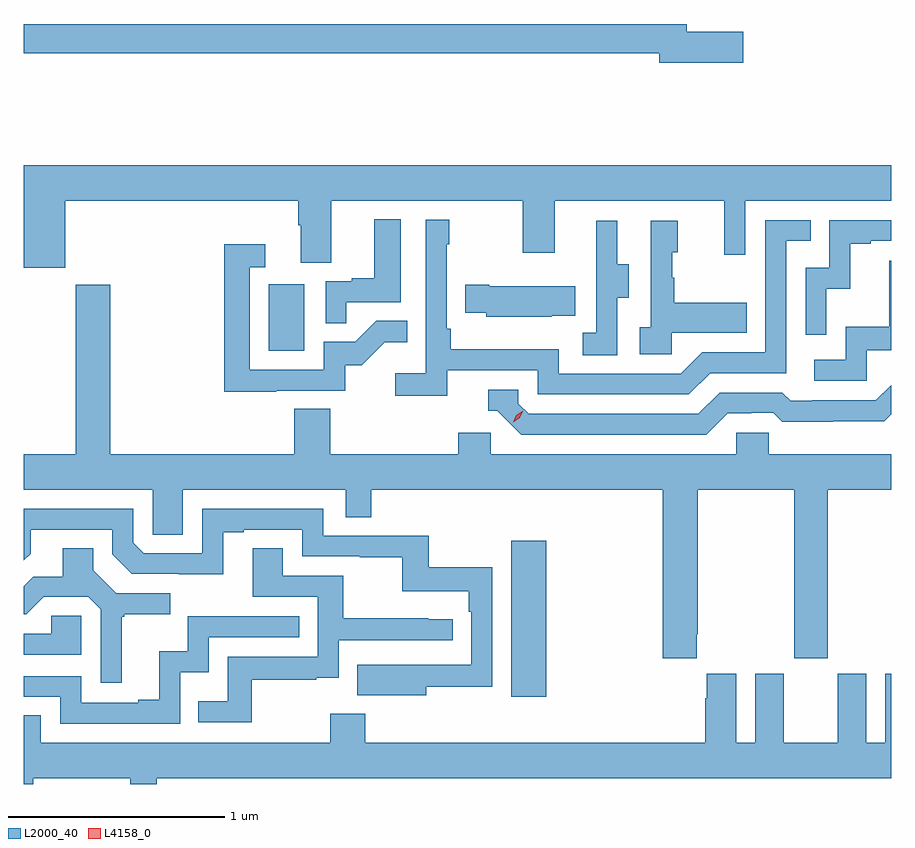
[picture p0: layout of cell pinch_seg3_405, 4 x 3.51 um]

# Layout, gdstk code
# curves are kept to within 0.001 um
import gdstk
lib = gdstk.Library(unit=1e-6, precision=1e-09)
def R(c, l, rs):  # rectangles x0, y0, x1, y1
    for r in rs: c.add(gdstk.rectangle(r[:2], r[2:], *l))
def P(c, l, *ps):  # polygons
    for p in ps: c.add(gdstk.Polygon(p, *l))
L2000_40 = (2000, 40)
L4158_0 = (4158, 0)

pinch_seg3_405 = lib.new_cell('pinch_seg3_405')
R(pinch_seg3_405, L2000_40, [(939.221,697.296,939.382,698.017), (938.102,698.892,938.266,699.199)])
P(pinch_seg3_405, L2000_40, [(940.291,700.364),(940.03,700.364),(940.03,700.4),(936.972,700.4),(936.972,700.264),(939.902,700.264),(939.902,700.222),(940.291,700.222)],
  [(937.162,699.584),(938.237,699.584),(938.237,699.472),(938.249,699.472),(938.249,699.298),(938.389,699.298),(938.389,699.584),(939.274,699.584),(939.274,699.345),(939.421,699.345),(939.421,699.584),(940.202,699.584),(940.202,699.336),(940.299,699.336),(940.299,699.584),(940.972,699.584),(940.972,699.748),(936.972,699.748),(936.972,699.275),(937.162,699.275)],
  [(938.459,699.117),(938.71,699.117),(938.71,699.499),(938.588,699.499),(938.588,699.226),(938.485,699.226),(938.485,699.213),(938.364,699.213),(938.364,699.019),(938.459,699.019)],
  [(938.924,698.802),(939.342,698.802),(939.342,698.691),(940.039,698.691),(940.138,698.79),(940.488,698.79),(940.488,699.399),(940.601,699.399),(940.601,699.495),(940.392,699.495),(940.392,698.886),(940.101,698.886),(940.002,698.787),(939.438,698.787),(939.438,698.899),(938.942,698.899),(938.942,698.995),(938.922,698.995),(938.922,699.383),(938.935,699.383),(938.935,699.496),(938.826,699.496),(938.826,698.788),(938.685,698.788),(938.685,698.686),(938.924,698.686)],
  [(940.674,699.179),(940.784,699.179),(940.784,699.387),(940.879,699.387),(940.879,699.399),(940.972,699.399),(940.972,699.495),(940.686,699.495),(940.686,699.276),(940.578,699.276),(940.578,698.967),(940.674,698.967)],
  [(939.96,698.975),(940.307,698.975),(940.307,699.115),(939.973,699.115),(939.973,699.23),(939.963,699.23),(939.963,699.348),(939.988,699.348),(939.988,699.493),(939.864,699.493),(939.864,699.002),(939.813,699.002),(939.813,698.877),(939.96,698.877)],
  [(939.708,699.136),(939.763,699.136),(939.763,699.291),(939.709,699.291),(939.709,699.493),(939.611,699.493),(939.611,699.279),(939.612,699.279),(939.612,698.975),(939.549,698.975),(939.549,698.872),(939.708,698.872)],
  [(938.135,698.709),(938.454,698.709),(938.454,698.826),(938.53,698.826),(938.637,698.933),(938.741,698.933),(938.741,699.032),(938.598,699.032),(938.5,698.934),(938.355,698.934),(938.355,698.805),(938.013,698.805),(938.013,699.279),(938.086,699.279),(938.086,699.385),(937.897,699.385),(937.897,698.704),(938.135,698.704)],
  [(940.86,698.895),(940.972,698.895),(940.972,699.307),(940.963,699.307),(940.963,699.004),(940.764,699.004),(940.764,698.85),(940.617,698.85),(940.617,698.754),(940.86,698.754)],
  [(939.407,699.053),(939.515,699.053),(939.515,699.19),(939.118,699.19),(939.118,699.198),(939.007,699.198),(939.007,699.068),(939.105,699.068),(939.105,699.05),(939.407,699.05)],
  [(940.075,697.585),(940.08,697.585),(940.08,698.252),(940.525,698.252),(940.525,697.473),(940.68,697.473),(940.68,698.252),(940.972,698.252),(940.972,698.416),(940.407,698.416),(940.407,698.514),(940.257,698.514),(940.257,698.416),(939.126,698.416),(939.126,698.514),(938.975,698.514),(938.975,698.416),(938.384,698.416),(938.384,698.624),(938.219,698.624),(938.219,698.416),(937.37,698.416),(937.37,699.196),(937.21,699.196),(937.21,698.416),(936.972,698.416),(936.972,698.252),(937.566,698.252),(937.566,698.044),(937.705,698.044),(937.705,698.252),(938.457,698.252),(938.457,698.125),(938.573,698.125),(938.573,698.252),(939.92,698.252),(939.92,697.473),(940.075,697.473)],
  [(940.219,698.604),(940.326,698.604),(940.326,698.607),(940.429,698.607),(940.471,698.565),(940.704,698.565),(940.704,698.567),(940.94,698.567),(940.972,698.599),(940.972,698.734),(940.902,698.664),(940.609,698.664),(940.609,698.661),(940.51,698.661),(940.471,698.7),(940.182,698.7),(940.083,698.601),(939.3,698.601),(939.252,698.649),(939.252,698.712),(939.113,698.712),(939.113,698.616),(939.156,698.616),(939.267,698.505),(940.12,698.505)],
  [(938.827,697.342),(939.132,697.342),(939.132,697.894),(938.839,697.894),(938.839,698.04),(938.352,698.04),(938.352,698.163),(937.794,698.163),(937.794,697.959),(937.524,697.959),(937.476,698.007),(937.476,698.163),(936.972,698.163),(936.972,697.926),(937.003,697.957),(937.003,698.067),(937.38,698.067),(937.38,697.953),(937.47,697.863),(937.891,697.862),(937.891,698.055),(937.987,698.055),(937.987,698.067),(938.256,698.067),(938.256,697.944),(938.521,697.944),(938.521,697.939),(938.718,697.939),(938.718,697.784),(939.023,697.784),(939.023,697.688),(939.036,697.688),(939.036,697.443),(938.509,697.444),(938.509,697.304),(938.827,697.304)],
  [(937.423,697.665),(937.435,697.665),(937.435,697.676),(937.648,697.676),(937.648,697.773),(937.398,697.773),(937.291,697.88),(937.291,697.982),(937.151,697.982),(937.151,697.85),(937.016,697.85),(936.972,697.806),(936.972,697.677),(936.982,697.677),(937.063,697.758),(937.269,697.758),(937.326,697.701),(937.326,697.362),(937.423,697.362)],
  [(938.023,697.374),(938.321,697.374),(938.321,697.385),(938.424,697.385),(938.424,697.557),(938.95,697.557),(938.95,697.653),(938.837,697.653),(938.837,697.658),(938.444,697.658),(938.444,697.854),(938.167,697.854),(938.167,697.982),(938.027,697.982),(938.027,697.758),(938.328,697.758),(938.328,697.482),(937.912,697.482),(937.912,697.276),(937.777,697.276),(937.777,697.179),(938.023,697.179)],
  [(937.236,697.671),(937.099,697.671),(937.099,697.587),(936.972,697.587),(936.972,697.491),(937.236,697.491)],
  [(937.692,697.409),(937.824,697.409),(937.824,697.572),(938.243,697.572),(938.243,697.668),(937.728,697.668),(937.728,697.507),(937.595,697.507),(937.595,697.282),(937.499,697.282),(937.499,697.269),(937.236,697.269),(937.236,697.392),(936.972,697.392),(936.972,697.296),(937.14,697.296),(937.14,697.173),(937.692,697.173)],
  [(937.014,696.92),(937.463,696.92),(937.463,696.894),(937.585,696.894),(937.585,696.92),(940.972,696.92),(940.972,697.402),(940.946,697.402),(940.946,697.084),(940.858,697.084),(940.858,697.402),(940.727,697.402),(940.727,697.084),(940.477,697.084),(940.477,697.402),(940.346,697.402),(940.346,697.084),(940.258,697.084),(940.258,697.402),(940.121,697.402),(940.121,697.289),(940.115,697.289),(940.115,697.084),(938.546,697.084),(938.546,697.219),(938.386,697.219),(938.386,697.084),(937.05,697.084),(937.05,697.211),(936.972,697.211),(936.972,696.894),(937.014,696.894)])
P(pinch_seg3_405, L4158_0, [(939.229,698.563),(939.229,698.563),(939.244,698.596),(939.275,698.616),(939.275,698.616),(939.275,698.616),(939.26,698.583),(939.229,698.563)])

lib.write_gds('pinch_seg3_405.gds')
